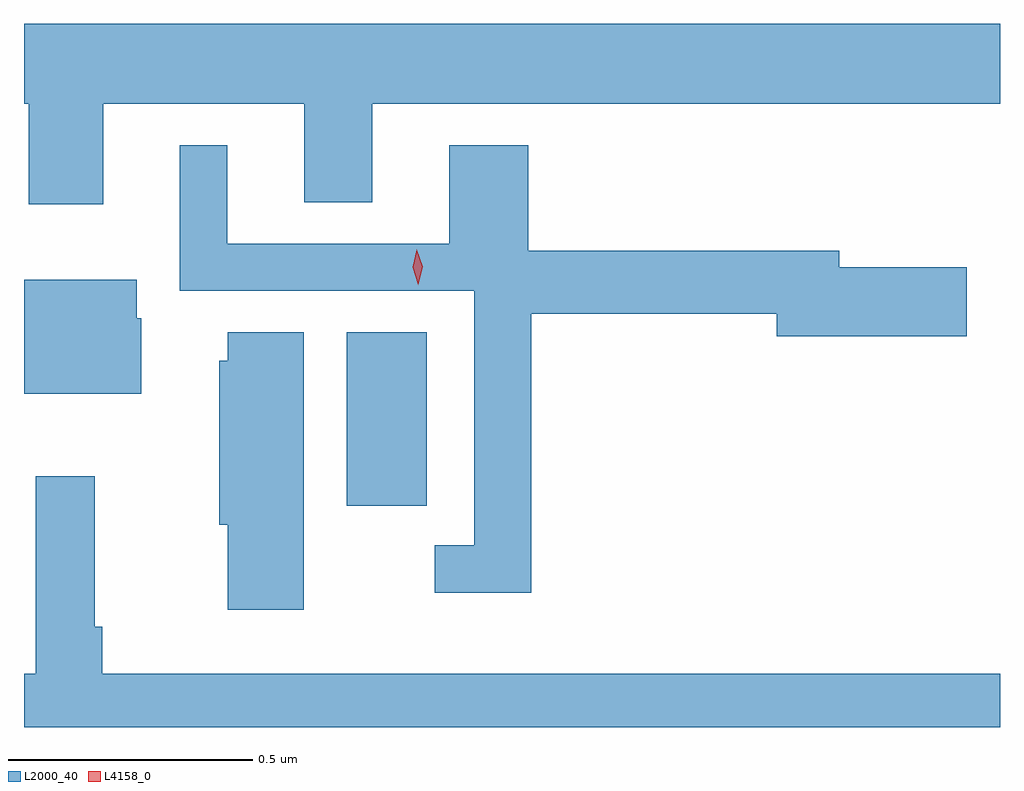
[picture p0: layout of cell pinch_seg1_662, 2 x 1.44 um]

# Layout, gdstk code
import gdstk
lib = gdstk.Library(unit=1e-6, precision=1e-09)
def R(c, l, rs):  # rectangles x0, y0, x1, y1
    for r in rs: c.add(gdstk.rectangle(r[:2], r[2:], *l))
def P(c, l, *ps):  # polygons
    for p in ps: c.add(gdstk.Polygon(p, *l))
L2000_40 = (2000, 40)
L4158_0 = (4158, 0)

pinch_seg1_662 = lib.new_cell('pinch_seg1_662')
R(pinch_seg1_662, L2000_40, [(757.868,562.896,758.032,563.252)])
P(pinch_seg1_662, L2000_40, [(757.369,563.72),(757.781,563.72),(757.781,563.518),(757.921,563.518),(757.921,563.72),(759.207,563.72),(759.207,563.884),(757.207,563.884),(757.207,563.72),(757.217,563.72),(757.217,563.514),(757.369,563.514)],
  [(758.246,563.29),(758.75,563.29),(758.75,563.243),(759.139,563.243),(759.139,563.385),(758.878,563.385),(758.878,563.419),(758.24,563.419),(758.24,563.635),(758.078,563.635),(758.078,563.433),(757.624,563.433),(757.624,563.635),(757.526,563.635),(757.526,563.337),(758.13,563.337),(758.13,562.815),(758.049,562.815),(758.049,562.718),(758.246,562.718)],
  [(757.447,563.28),(757.438,563.28),(757.438,563.359),(757.208,563.359),(757.208,563.292),(757.207,563.292),(757.207,563.126),(757.447,563.126)],
  [(757.78,563.252),(757.625,563.252),(757.625,563.193),(757.607,563.193),(757.607,562.857),(757.625,562.857),(757.625,562.683),(757.78,562.683)],
  [(759.207,562.552),(757.367,562.552),(757.367,562.648),(757.352,562.648),(757.352,562.957),(757.231,562.957),(757.231,562.552),(757.207,562.552),(757.207,562.442),(759.207,562.442)])
P(pinch_seg1_662, L4158_0, [(758.015,563.349),(758.015,563.349),(758.004,563.385),(758.012,563.421),(758.012,563.422),(758.012,563.421),(758.024,563.386),(758.015,563.349)])

lib.write_gds('pinch_seg1_662.gds')
